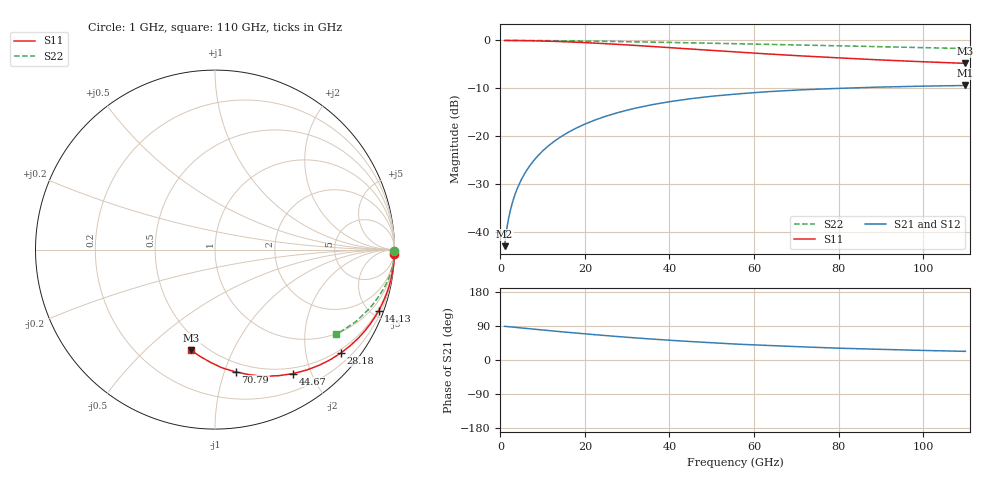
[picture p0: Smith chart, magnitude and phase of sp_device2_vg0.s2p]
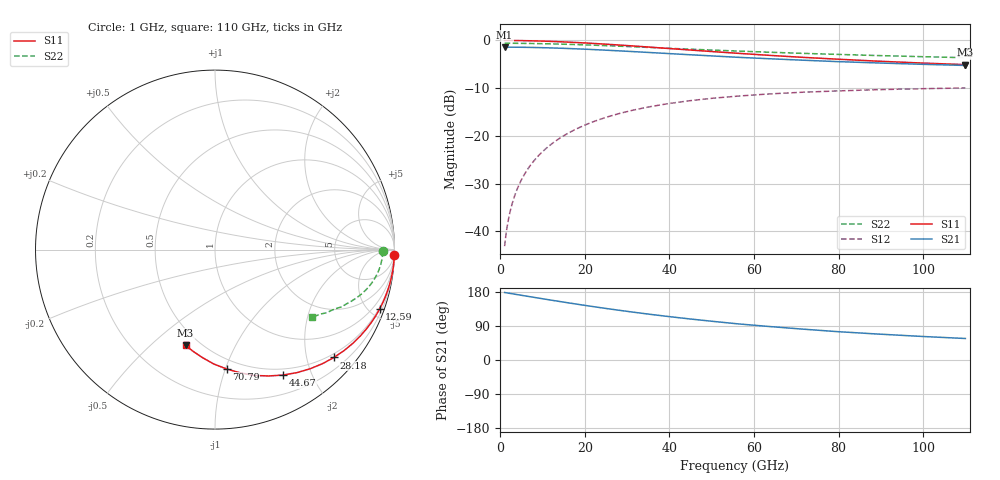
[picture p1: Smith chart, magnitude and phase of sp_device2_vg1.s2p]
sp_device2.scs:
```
// sp_device2.scs - Step 12c: S-parameters of graded_hemt.va, Device 2, V_DS = 3 V, V_GS = -3, -2, -1, 0 V
// written by va_netlists.py on 2026-11-18 from params_device2_dibl.json and rf_device2.json
simulator lang=spectre
global 0
ahdl_include "graded_hemt.va"
parameters vgs=0
VG (gb 0) vsource dc=vgs
LG (gb g) inductor l=1
CG (p1 g) capacitor c=1
P1 (p1 0) port r=50 num=1
VD (db 0) vsource dc=3
LD (db d) inductor l=1
CD (p2 d) capacitor c=1
P2 (p2 0) port r=50 num=2
DUT (d g 0) graded_hemt \
    w=7.5e-05 l=5e-08 epsr=9.5 db=9e-09 tg=6e-09 meff=0.217 tdev=300 \
    gam=0.398579359498792 mulf=0.138 mua=0 mub=0 thsat=0 vsat0=97314.0552407621 th1=0.3 \
    th2=0.955018979760714 nmax=5e+16 delta=9.25839264548058 lsg=6e-07 lgd=6e-07 nacc=3.6e+16 \
    u0=0.0615833620844039 vsatacc=180000 beta=18.5415108941174 \
    voff=-0.63 dvoff=-0.97935075685015 sigma=0.0767676767676768 vdsref=0.05 \
    rg=3.6026666252028 cgsfr=2.97354674677795e-14 cgdfr=1.14049462182177e-14 cdsfr=1.33296031916076e-26
set0 alter param=vgs value=-3.0
sp0 sp ports=[P1 P2] start=1G stop=110G dec=20 file="sp_device2_vg0.s2p" datafmt=touchstone
set1 alter param=vgs value=-2.0
sp1 sp ports=[P1 P2] start=1G stop=110G dec=20 file="sp_device2_vg1.s2p" datafmt=touchstone
set2 alter param=vgs value=-1.0
sp2 sp ports=[P1 P2] start=1G stop=110G dec=20 file="sp_device2_vg2.s2p" datafmt=touchstone
set3 alter param=vgs value=0.0
sp3 sp ports=[P1 P2] start=1G stop=110G dec=20 file="sp_device2_vg3.s2p" datafmt=touchstone
```
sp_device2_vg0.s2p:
! Touchstone Ver. 1.0
! Number of ports is 2
# Hz	S	RI	R	50.000000
! SCATTERING PARAMETERS  :
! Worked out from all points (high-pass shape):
!   42 points, 1 GHz to 110 GHz, reference 50 ohm
!   highest |S21| = -9.39 dB at 110 GHz (marker M1); lowest = -42.9 dB at 1 GHz (marker M2)
!   |S21| within 3 dB of the highest: 43.02 GHz to end of sweep
!   lowest |S11| = -4.8 dB at 110 GHz (marker M3), VSWR 3.73, Z = 20.9 - j35.2 ohm
!   |S11| at or under -10 dB: nowhere
!   |S22| runs from -1.7 to 0.0 dB; largest |S21 - S12| = 3.9e-07
!   S11 on the Smith chart (normalised r, x): 1 GHz: 0, -77; 14.13 GHz: 0.42, -5.48; 28.18 GHz: 0.42, -2.75; 44.67 GHz: 0.42, -1.73; 70.79 GHz: 0.42, -1.09; 110 GHz: 0.42, -0.70
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1e9  0.9995 -0.0258  0.000136 0.00716  0.000136 0.00716  0.9999 -0.00717
1.584893e9  0.9988 -0.0409  0.000342 0.0113  0.000343 0.0113  0.9998 -0.0114
2.511886e9  0.997 -0.0648  0.000859 0.018  0.00086 0.018  0.9996 -0.018
5.011872e9  0.9882 -0.1285  0.0034 0.0356  0.0034 0.0356  0.9984 -0.0358
8.912509e9  0.9633 -0.2244  0.0106 0.0621  0.0106 0.0621  0.9949 -0.0633
1.412538e10  0.9114 -0.3422  0.0255 0.0945  0.0255 0.0945  0.9876 -0.0989
2.818383e10  0.7029 -0.5749  0.0853 0.1573  0.0853 0.1573  0.9557 -0.1862
4.466836e10  0.4342 -0.691  0.1616 0.1855  0.1616 0.1855  0.9054 -0.2704
5.623413e10  0.2713 -0.7063  0.2071 0.1845  0.2071 0.1845  0.8648 -0.3245
7.079458e10  0.1158 -0.6818  0.2498 0.175  0.2498 0.175  0.8157 -0.3716
1.1e11  -0.131 -0.562  0.3127 0.1316  0.3127 0.1316  0.6754 -0.4706
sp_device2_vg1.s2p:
! Touchstone Ver. 1.0
! Number of ports is 2
# Hz	S	RI	R	50.000000
! SCATTERING PARAMETERS  :
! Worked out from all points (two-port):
!   42 points, 1 GHz to 110 GHz, reference 50 ohm
!   highest |S21| = -1.40 dB at 1 GHz (marker M1); lowest = -5.2 dB at 110 GHz (marker M2)
!   |S21| within 3 dB of the highest: start of sweep to 78.85 GHz
!   lowest |S11| = -5.1 dB at 110 GHz (marker M3), VSWR 3.53, Z = 21 - j32.5 ohm
!   |S11| at or under -10 dB: nowhere
!   |S22| runs from -3.6 to -0.6 dB; largest |S21 - S12| = 0.85
!   S11 on the Smith chart (normalised r, x): 1 GHz: 0, -71; 12.59 GHz: 0.42, -5.67; 28.18 GHz: 0.42, -2.53; 44.67 GHz: 0.42, -1.60; 70.79 GHz: 0.42, -1.01; 110 GHz: 0.42, -0.65
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1e9  0.9994 -0.028  -0.8505 0.0276  0.000141 0.007  0.9345 -0.0097
2.238721e9  0.9972 -0.0628  -0.8482 0.0619  0.000706 0.0156  0.9339 -0.0219
4.466836e9  0.989 -0.1242  -0.8399 0.1223  0.00278 0.031  0.9317 -0.0431
7.943282e9  0.9657 -0.2171  -0.8163 0.2138  0.00865 0.0542  0.9253 -0.0756
1.258925e10  0.9169 -0.3318  -0.7669 0.3264  0.021 0.0829  0.9119 -0.1167
1.995262e10  0.8083 -0.4828  -0.6572 0.4736  0.0483 0.1204  0.8819 -0.1737
2.818383e10  0.6632 -0.6006  -0.5109 0.5862  0.0849 0.1496  0.8411 -0.2241
4.466836e10  0.379 -0.6991  -0.2253 0.6724  0.1564 0.1732  0.7577 -0.2886
5.623413e10  0.2153 -0.701  -0.0616 0.6629  0.1973 0.1714  0.7051 -0.3191
7.079458e10  0.0645 -0.665  0.0859 0.6171  0.2351 0.1628  0.6523 -0.3373
1.1e11  -0.1641 -0.5334  0.3002 0.4574  0.2912 0.1273  0.5422 -0.3755
